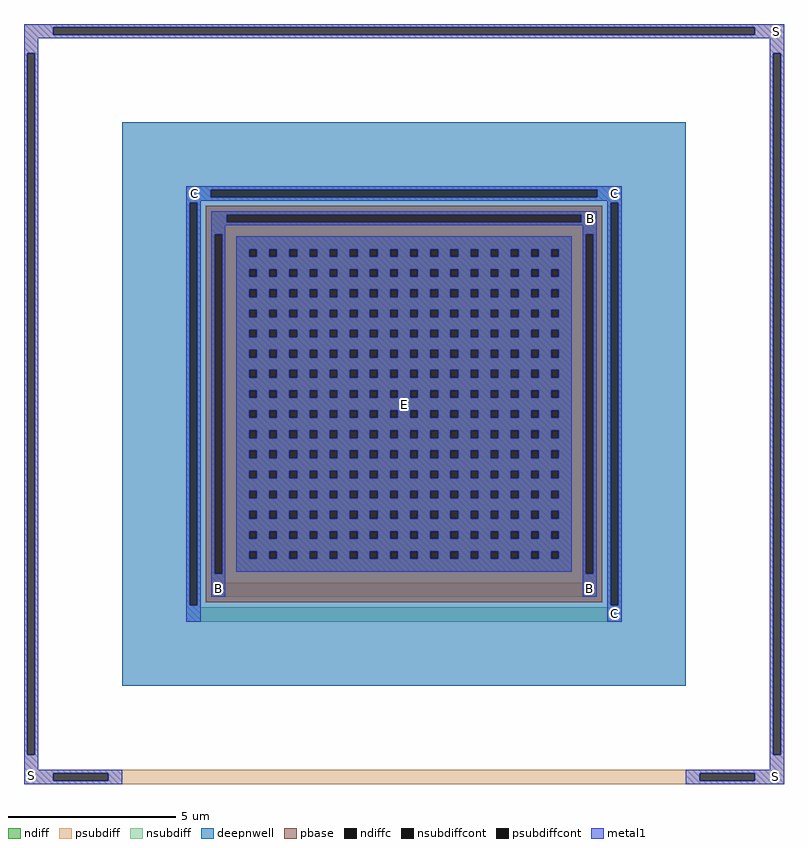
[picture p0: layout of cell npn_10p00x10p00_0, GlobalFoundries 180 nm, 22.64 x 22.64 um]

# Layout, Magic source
magic
tech gf180mcuD
magscale 1 10
<< deepnwell >>
rect -680 -680 2680 2680
<< pbase >>
rect -180 -180 2180 2180
<< ndiff >>
rect 0 1923 2000 2000
rect 0 1877 77 1923
rect 123 1877 197 1923
rect 243 1877 317 1923
rect 363 1877 437 1923
rect 483 1877 557 1923
rect 603 1877 677 1923
rect 723 1877 797 1923
rect 843 1877 917 1923
rect 963 1877 1037 1923
rect 1083 1877 1157 1923
rect 1203 1877 1277 1923
rect 1323 1877 1397 1923
rect 1443 1877 1517 1923
rect 1563 1877 1637 1923
rect 1683 1877 1757 1923
rect 1803 1877 1877 1923
rect 1923 1877 2000 1923
rect 0 1803 2000 1877
rect 0 1757 77 1803
rect 123 1757 197 1803
rect 243 1757 317 1803
rect 363 1757 437 1803
rect 483 1757 557 1803
rect 603 1757 677 1803
rect 723 1757 797 1803
rect 843 1757 917 1803
rect 963 1757 1037 1803
rect 1083 1757 1157 1803
rect 1203 1757 1277 1803
rect 1323 1757 1397 1803
rect 1443 1757 1517 1803
rect 1563 1757 1637 1803
rect 1683 1757 1757 1803
rect 1803 1757 1877 1803
rect 1923 1757 2000 1803
rect 0 1683 2000 1757
rect 0 1637 77 1683
rect 123 1637 197 1683
rect 243 1637 317 1683
rect 363 1637 437 1683
rect 483 1637 557 1683
rect 603 1637 677 1683
rect 723 1637 797 1683
rect 843 1637 917 1683
rect 963 1637 1037 1683
rect 1083 1637 1157 1683
rect 1203 1637 1277 1683
rect 1323 1637 1397 1683
rect 1443 1637 1517 1683
rect 1563 1637 1637 1683
rect 1683 1637 1757 1683
rect 1803 1637 1877 1683
rect 1923 1637 2000 1683
rect 0 1563 2000 1637
rect 0 1517 77 1563
rect 123 1517 197 1563
rect 243 1517 317 1563
rect 363 1517 437 1563
rect 483 1517 557 1563
rect 603 1517 677 1563
rect 723 1517 797 1563
rect 843 1517 917 1563
rect 963 1517 1037 1563
rect 1083 1517 1157 1563
rect 1203 1517 1277 1563
rect 1323 1517 1397 1563
rect 1443 1517 1517 1563
rect 1563 1517 1637 1563
rect 1683 1517 1757 1563
rect 1803 1517 1877 1563
rect 1923 1517 2000 1563
rect 0 1443 2000 1517
rect 0 1397 77 1443
rect 123 1397 197 1443
rect 243 1397 317 1443
rect 363 1397 437 1443
rect 483 1397 557 1443
rect 603 1397 677 1443
rect 723 1397 797 1443
rect 843 1397 917 1443
rect 963 1397 1037 1443
rect 1083 1397 1157 1443
rect 1203 1397 1277 1443
rect 1323 1397 1397 1443
rect 1443 1397 1517 1443
rect 1563 1397 1637 1443
rect 1683 1397 1757 1443
rect 1803 1397 1877 1443
rect 1923 1397 2000 1443
rect 0 1323 2000 1397
rect 0 1277 77 1323
rect 123 1277 197 1323
rect 243 1277 317 1323
rect 363 1277 437 1323
rect 483 1277 557 1323
rect 603 1277 677 1323
rect 723 1277 797 1323
rect 843 1277 917 1323
rect 963 1277 1037 1323
rect 1083 1277 1157 1323
rect 1203 1277 1277 1323
rect 1323 1277 1397 1323
rect 1443 1277 1517 1323
rect 1563 1277 1637 1323
rect 1683 1277 1757 1323
rect 1803 1277 1877 1323
rect 1923 1277 2000 1323
rect 0 1203 2000 1277
rect 0 1157 77 1203
rect 123 1157 197 1203
rect 243 1157 317 1203
rect 363 1157 437 1203
rect 483 1157 557 1203
rect 603 1157 677 1203
rect 723 1157 797 1203
rect 843 1157 917 1203
rect 963 1157 1037 1203
rect 1083 1157 1157 1203
rect 1203 1157 1277 1203
rect 1323 1157 1397 1203
rect 1443 1157 1517 1203
rect 1563 1157 1637 1203
rect 1683 1157 1757 1203
rect 1803 1157 1877 1203
rect 1923 1157 2000 1203
rect 0 1083 2000 1157
rect 0 1037 77 1083
rect 123 1037 197 1083
rect 243 1037 317 1083
rect 363 1037 437 1083
rect 483 1037 557 1083
rect 603 1037 677 1083
rect 723 1037 797 1083
rect 843 1037 917 1083
rect 963 1037 1037 1083
rect 1083 1037 1157 1083
rect 1203 1037 1277 1083
rect 1323 1037 1397 1083
rect 1443 1037 1517 1083
rect 1563 1037 1637 1083
rect 1683 1037 1757 1083
rect 1803 1037 1877 1083
rect 1923 1037 2000 1083
rect 0 963 2000 1037
rect 0 917 77 963
rect 123 917 197 963
rect 243 917 317 963
rect 363 917 437 963
rect 483 917 557 963
rect 603 917 677 963
rect 723 917 797 963
rect 843 917 917 963
rect 963 917 1037 963
rect 1083 917 1157 963
rect 1203 917 1277 963
rect 1323 917 1397 963
rect 1443 917 1517 963
rect 1563 917 1637 963
rect 1683 917 1757 963
rect 1803 917 1877 963
rect 1923 917 2000 963
rect 0 843 2000 917
rect 0 797 77 843
rect 123 797 197 843
rect 243 797 317 843
rect 363 797 437 843
rect 483 797 557 843
rect 603 797 677 843
rect 723 797 797 843
rect 843 797 917 843
rect 963 797 1037 843
rect 1083 797 1157 843
rect 1203 797 1277 843
rect 1323 797 1397 843
rect 1443 797 1517 843
rect 1563 797 1637 843
rect 1683 797 1757 843
rect 1803 797 1877 843
rect 1923 797 2000 843
rect 0 723 2000 797
rect 0 677 77 723
rect 123 677 197 723
rect 243 677 317 723
rect 363 677 437 723
rect 483 677 557 723
rect 603 677 677 723
rect 723 677 797 723
rect 843 677 917 723
rect 963 677 1037 723
rect 1083 677 1157 723
rect 1203 677 1277 723
rect 1323 677 1397 723
rect 1443 677 1517 723
rect 1563 677 1637 723
rect 1683 677 1757 723
rect 1803 677 1877 723
rect 1923 677 2000 723
rect 0 603 2000 677
rect 0 557 77 603
rect 123 557 197 603
rect 243 557 317 603
rect 363 557 437 603
rect 483 557 557 603
rect 603 557 677 603
rect 723 557 797 603
rect 843 557 917 603
rect 963 557 1037 603
rect 1083 557 1157 603
rect 1203 557 1277 603
rect 1323 557 1397 603
rect 1443 557 1517 603
rect 1563 557 1637 603
rect 1683 557 1757 603
rect 1803 557 1877 603
rect 1923 557 2000 603
rect 0 483 2000 557
rect 0 437 77 483
rect 123 437 197 483
rect 243 437 317 483
rect 363 437 437 483
rect 483 437 557 483
rect 603 437 677 483
rect 723 437 797 483
rect 843 437 917 483
rect 963 437 1037 483
rect 1083 437 1157 483
rect 1203 437 1277 483
rect 1323 437 1397 483
rect 1443 437 1517 483
rect 1563 437 1637 483
rect 1683 437 1757 483
rect 1803 437 1877 483
rect 1923 437 2000 483
rect 0 363 2000 437
rect 0 317 77 363
rect 123 317 197 363
rect 243 317 317 363
rect 363 317 437 363
rect 483 317 557 363
rect 603 317 677 363
rect 723 317 797 363
rect 843 317 917 363
rect 963 317 1037 363
rect 1083 317 1157 363
rect 1203 317 1277 363
rect 1323 317 1397 363
rect 1443 317 1517 363
rect 1563 317 1637 363
rect 1683 317 1757 363
rect 1803 317 1877 363
rect 1923 317 2000 363
rect 0 243 2000 317
rect 0 197 77 243
rect 123 197 197 243
rect 243 197 317 243
rect 363 197 437 243
rect 483 197 557 243
rect 603 197 677 243
rect 723 197 797 243
rect 843 197 917 243
rect 963 197 1037 243
rect 1083 197 1157 243
rect 1203 197 1277 243
rect 1323 197 1397 243
rect 1443 197 1517 243
rect 1563 197 1637 243
rect 1683 197 1757 243
rect 1803 197 1877 243
rect 1923 197 2000 243
rect 0 123 2000 197
rect 0 77 77 123
rect 123 77 197 123
rect 243 77 317 123
rect 363 77 437 123
rect 483 77 557 123
rect 603 77 677 123
rect 723 77 797 123
rect 843 77 917 123
rect 963 77 1037 123
rect 1083 77 1157 123
rect 1203 77 1277 123
rect 1323 77 1397 123
rect 1443 77 1517 123
rect 1563 77 1637 123
rect 1683 77 1757 123
rect 1803 77 1877 123
rect 1923 77 2000 123
rect 0 0 2000 77
<< ndiffc >>
rect 77 1877 123 1923
rect 197 1877 243 1923
rect 317 1877 363 1923
rect 437 1877 483 1923
rect 557 1877 603 1923
rect 677 1877 723 1923
rect 797 1877 843 1923
rect 917 1877 963 1923
rect 1037 1877 1083 1923
rect 1157 1877 1203 1923
rect 1277 1877 1323 1923
rect 1397 1877 1443 1923
rect 1517 1877 1563 1923
rect 1637 1877 1683 1923
rect 1757 1877 1803 1923
rect 1877 1877 1923 1923
rect 77 1757 123 1803
rect 197 1757 243 1803
rect 317 1757 363 1803
rect 437 1757 483 1803
rect 557 1757 603 1803
rect 677 1757 723 1803
rect 797 1757 843 1803
rect 917 1757 963 1803
rect 1037 1757 1083 1803
rect 1157 1757 1203 1803
rect 1277 1757 1323 1803
rect 1397 1757 1443 1803
rect 1517 1757 1563 1803
rect 1637 1757 1683 1803
rect 1757 1757 1803 1803
rect 1877 1757 1923 1803
rect 77 1637 123 1683
rect 197 1637 243 1683
rect 317 1637 363 1683
rect 437 1637 483 1683
rect 557 1637 603 1683
rect 677 1637 723 1683
rect 797 1637 843 1683
rect 917 1637 963 1683
rect 1037 1637 1083 1683
rect 1157 1637 1203 1683
rect 1277 1637 1323 1683
rect 1397 1637 1443 1683
rect 1517 1637 1563 1683
rect 1637 1637 1683 1683
rect 1757 1637 1803 1683
rect 1877 1637 1923 1683
rect 77 1517 123 1563
rect 197 1517 243 1563
rect 317 1517 363 1563
rect 437 1517 483 1563
rect 557 1517 603 1563
rect 677 1517 723 1563
rect 797 1517 843 1563
rect 917 1517 963 1563
rect 1037 1517 1083 1563
rect 1157 1517 1203 1563
rect 1277 1517 1323 1563
rect 1397 1517 1443 1563
rect 1517 1517 1563 1563
rect 1637 1517 1683 1563
rect 1757 1517 1803 1563
rect 1877 1517 1923 1563
rect 77 1397 123 1443
rect 197 1397 243 1443
rect 317 1397 363 1443
rect 437 1397 483 1443
rect 557 1397 603 1443
rect 677 1397 723 1443
rect 797 1397 843 1443
rect 917 1397 963 1443
rect 1037 1397 1083 1443
rect 1157 1397 1203 1443
rect 1277 1397 1323 1443
rect 1397 1397 1443 1443
rect 1517 1397 1563 1443
rect 1637 1397 1683 1443
rect 1757 1397 1803 1443
rect 1877 1397 1923 1443
rect 77 1277 123 1323
rect 197 1277 243 1323
rect 317 1277 363 1323
rect 437 1277 483 1323
rect 557 1277 603 1323
rect 677 1277 723 1323
rect 797 1277 843 1323
rect 917 1277 963 1323
rect 1037 1277 1083 1323
rect 1157 1277 1203 1323
rect 1277 1277 1323 1323
rect 1397 1277 1443 1323
rect 1517 1277 1563 1323
rect 1637 1277 1683 1323
rect 1757 1277 1803 1323
rect 1877 1277 1923 1323
rect 77 1157 123 1203
rect 197 1157 243 1203
rect 317 1157 363 1203
rect 437 1157 483 1203
rect 557 1157 603 1203
rect 677 1157 723 1203
rect 797 1157 843 1203
rect 917 1157 963 1203
rect 1037 1157 1083 1203
rect 1157 1157 1203 1203
rect 1277 1157 1323 1203
rect 1397 1157 1443 1203
rect 1517 1157 1563 1203
rect 1637 1157 1683 1203
rect 1757 1157 1803 1203
rect 1877 1157 1923 1203
rect 77 1037 123 1083
rect 197 1037 243 1083
rect 317 1037 363 1083
rect 437 1037 483 1083
rect 557 1037 603 1083
rect 677 1037 723 1083
rect 797 1037 843 1083
rect 917 1037 963 1083
rect 1037 1037 1083 1083
rect 1157 1037 1203 1083
rect 1277 1037 1323 1083
rect 1397 1037 1443 1083
rect 1517 1037 1563 1083
rect 1637 1037 1683 1083
rect 1757 1037 1803 1083
rect 1877 1037 1923 1083
rect 77 917 123 963
rect 197 917 243 963
rect 317 917 363 963
rect 437 917 483 963
rect 557 917 603 963
rect 677 917 723 963
rect 797 917 843 963
rect 917 917 963 963
rect 1037 917 1083 963
rect 1157 917 1203 963
rect 1277 917 1323 963
rect 1397 917 1443 963
rect 1517 917 1563 963
rect 1637 917 1683 963
rect 1757 917 1803 963
rect 1877 917 1923 963
rect 77 797 123 843
rect 197 797 243 843
rect 317 797 363 843
rect 437 797 483 843
rect 557 797 603 843
rect 677 797 723 843
rect 797 797 843 843
rect 917 797 963 843
rect 1037 797 1083 843
rect 1157 797 1203 843
rect 1277 797 1323 843
rect 1397 797 1443 843
rect 1517 797 1563 843
rect 1637 797 1683 843
rect 1757 797 1803 843
rect 1877 797 1923 843
rect 77 677 123 723
rect 197 677 243 723
rect 317 677 363 723
rect 437 677 483 723
rect 557 677 603 723
rect 677 677 723 723
rect 797 677 843 723
rect 917 677 963 723
rect 1037 677 1083 723
rect 1157 677 1203 723
rect 1277 677 1323 723
rect 1397 677 1443 723
rect 1517 677 1563 723
rect 1637 677 1683 723
rect 1757 677 1803 723
rect 1877 677 1923 723
rect 77 557 123 603
rect 197 557 243 603
rect 317 557 363 603
rect 437 557 483 603
rect 557 557 603 603
rect 677 557 723 603
rect 797 557 843 603
rect 917 557 963 603
rect 1037 557 1083 603
rect 1157 557 1203 603
rect 1277 557 1323 603
rect 1397 557 1443 603
rect 1517 557 1563 603
rect 1637 557 1683 603
rect 1757 557 1803 603
rect 1877 557 1923 603
rect 77 437 123 483
rect 197 437 243 483
rect 317 437 363 483
rect 437 437 483 483
rect 557 437 603 483
rect 677 437 723 483
rect 797 437 843 483
rect 917 437 963 483
rect 1037 437 1083 483
rect 1157 437 1203 483
rect 1277 437 1323 483
rect 1397 437 1443 483
rect 1517 437 1563 483
rect 1637 437 1683 483
rect 1757 437 1803 483
rect 1877 437 1923 483
rect 77 317 123 363
rect 197 317 243 363
rect 317 317 363 363
rect 437 317 483 363
rect 557 317 603 363
rect 677 317 723 363
rect 797 317 843 363
rect 917 317 963 363
rect 1037 317 1083 363
rect 1157 317 1203 363
rect 1277 317 1323 363
rect 1397 317 1443 363
rect 1517 317 1563 363
rect 1637 317 1683 363
rect 1757 317 1803 363
rect 1877 317 1923 363
rect 77 197 123 243
rect 197 197 243 243
rect 317 197 363 243
rect 437 197 483 243
rect 557 197 603 243
rect 677 197 723 243
rect 797 197 843 243
rect 917 197 963 243
rect 1037 197 1083 243
rect 1157 197 1203 243
rect 1277 197 1323 243
rect 1397 197 1443 243
rect 1517 197 1563 243
rect 1637 197 1683 243
rect 1757 197 1803 243
rect 1877 197 1923 243
rect 77 77 123 123
rect 197 77 243 123
rect 317 77 363 123
rect 437 77 483 123
rect 557 77 603 123
rect 677 77 723 123
rect 797 77 843 123
rect 917 77 963 123
rect 1037 77 1083 123
rect 1157 77 1203 123
rect 1277 77 1323 123
rect 1397 77 1443 123
rect 1517 77 1563 123
rect 1637 77 1683 123
rect 1757 77 1803 123
rect 1877 77 1923 123
<< psubdiff >>
rect -1264 3245 3264 3264
rect -1264 3199 -1091 3245
rect 3091 3199 3264 3245
rect -1264 3180 3264 3199
rect -1264 3091 -1180 3180
rect -1264 -1091 -1245 3091
rect -1199 -1091 -1180 3091
rect 3180 3091 3264 3180
rect -148 2129 2148 2148
rect -148 2083 -57 2129
rect 2057 2083 2148 2129
rect -148 2064 2148 2083
rect -148 2010 -64 2064
rect -148 -10 -129 2010
rect -83 -10 -64 2010
rect 2064 2010 2148 2064
rect -148 -64 -64 -10
rect 2064 -10 2083 2010
rect 2129 -10 2148 2010
rect 2064 -64 2148 -10
rect -148 -148 2148 -64
rect -1264 -1180 -1180 -1091
rect 3180 -1091 3199 3091
rect 3245 -1091 3264 3091
rect 3180 -1180 3264 -1091
rect -1264 -1199 3264 -1180
rect -1264 -1245 -1091 -1199
rect -763 -1245 2763 -1199
rect 3091 -1245 3264 -1199
rect -1264 -1264 3264 -1245
<< nsubdiff >>
rect -296 2277 2296 2296
rect -296 2231 -151 2277
rect 2151 2231 2296 2277
rect -296 2212 2296 2231
rect -296 2198 -212 2212
rect -296 -198 -277 2198
rect -231 -198 -212 2198
rect 2212 2198 2296 2212
rect -296 -212 -212 -198
rect 2212 -198 2231 2198
rect 2277 -198 2296 2198
rect 2212 -212 2296 -198
rect -296 -296 2296 -212
<< psubdiffcont >>
rect -1091 3199 3091 3245
rect -1245 -1091 -1199 3091
rect -57 2083 2057 2129
rect -129 -10 -83 2010
rect 2083 -10 2129 2010
rect 3199 -1091 3245 3091
rect -1091 -1245 -763 -1199
rect 2763 -1245 3091 -1199
<< nsubdiffcont >>
rect -151 2231 2151 2277
rect -277 -198 -231 2198
rect 2231 -198 2277 2198
<< metal1 >>
rect -1264 3245 3264 3264
rect -1264 3199 -1091 3245
rect 3091 3199 3264 3245
rect -1264 3180 3264 3199
rect -1264 3091 -1180 3180
rect -1264 -1091 -1245 3091
rect -1199 -1091 -1180 3091
rect 3180 3091 3264 3180
rect -296 2277 2296 2296
rect -296 2231 -151 2277
rect 2151 2231 2296 2277
rect -296 2212 2296 2231
rect -296 2198 -212 2212
rect -296 -198 -277 2198
rect -231 -198 -212 2198
rect 2212 2198 2296 2212
rect -148 2129 2148 2148
rect -148 2083 -57 2129
rect 2057 2083 2148 2129
rect -148 2064 2148 2083
rect -148 2010 -64 2064
rect -148 -10 -129 2010
rect -83 -10 -64 2010
rect 2064 2010 2148 2064
rect 0 1923 2000 2000
rect 0 1877 77 1923
rect 123 1877 197 1923
rect 243 1877 317 1923
rect 363 1877 437 1923
rect 483 1877 557 1923
rect 603 1877 677 1923
rect 723 1877 797 1923
rect 843 1877 917 1923
rect 963 1877 1037 1923
rect 1083 1877 1157 1923
rect 1203 1877 1277 1923
rect 1323 1877 1397 1923
rect 1443 1877 1517 1923
rect 1563 1877 1637 1923
rect 1683 1877 1757 1923
rect 1803 1877 1877 1923
rect 1923 1877 2000 1923
rect 0 1803 2000 1877
rect 0 1757 77 1803
rect 123 1757 197 1803
rect 243 1757 317 1803
rect 363 1757 437 1803
rect 483 1757 557 1803
rect 603 1757 677 1803
rect 723 1757 797 1803
rect 843 1757 917 1803
rect 963 1757 1037 1803
rect 1083 1757 1157 1803
rect 1203 1757 1277 1803
rect 1323 1757 1397 1803
rect 1443 1757 1517 1803
rect 1563 1757 1637 1803
rect 1683 1757 1757 1803
rect 1803 1757 1877 1803
rect 1923 1757 2000 1803
rect 0 1683 2000 1757
rect 0 1637 77 1683
rect 123 1637 197 1683
rect 243 1637 317 1683
rect 363 1637 437 1683
rect 483 1637 557 1683
rect 603 1637 677 1683
rect 723 1637 797 1683
rect 843 1637 917 1683
rect 963 1637 1037 1683
rect 1083 1637 1157 1683
rect 1203 1637 1277 1683
rect 1323 1637 1397 1683
rect 1443 1637 1517 1683
rect 1563 1637 1637 1683
rect 1683 1637 1757 1683
rect 1803 1637 1877 1683
rect 1923 1637 2000 1683
rect 0 1563 2000 1637
rect 0 1517 77 1563
rect 123 1517 197 1563
rect 243 1517 317 1563
rect 363 1517 437 1563
rect 483 1517 557 1563
rect 603 1517 677 1563
rect 723 1517 797 1563
rect 843 1517 917 1563
rect 963 1517 1037 1563
rect 1083 1517 1157 1563
rect 1203 1517 1277 1563
rect 1323 1517 1397 1563
rect 1443 1517 1517 1563
rect 1563 1517 1637 1563
rect 1683 1517 1757 1563
rect 1803 1517 1877 1563
rect 1923 1517 2000 1563
rect 0 1443 2000 1517
rect 0 1397 77 1443
rect 123 1397 197 1443
rect 243 1397 317 1443
rect 363 1397 437 1443
rect 483 1397 557 1443
rect 603 1397 677 1443
rect 723 1397 797 1443
rect 843 1397 917 1443
rect 963 1397 1037 1443
rect 1083 1397 1157 1443
rect 1203 1397 1277 1443
rect 1323 1397 1397 1443
rect 1443 1397 1517 1443
rect 1563 1397 1637 1443
rect 1683 1397 1757 1443
rect 1803 1397 1877 1443
rect 1923 1397 2000 1443
rect 0 1323 2000 1397
rect 0 1277 77 1323
rect 123 1277 197 1323
rect 243 1277 317 1323
rect 363 1277 437 1323
rect 483 1277 557 1323
rect 603 1277 677 1323
rect 723 1277 797 1323
rect 843 1277 917 1323
rect 963 1277 1037 1323
rect 1083 1277 1157 1323
rect 1203 1277 1277 1323
rect 1323 1277 1397 1323
rect 1443 1277 1517 1323
rect 1563 1277 1637 1323
rect 1683 1277 1757 1323
rect 1803 1277 1877 1323
rect 1923 1277 2000 1323
rect 0 1203 2000 1277
rect 0 1157 77 1203
rect 123 1157 197 1203
rect 243 1157 317 1203
rect 363 1157 437 1203
rect 483 1157 557 1203
rect 603 1157 677 1203
rect 723 1157 797 1203
rect 843 1157 917 1203
rect 963 1157 1037 1203
rect 1083 1157 1157 1203
rect 1203 1157 1277 1203
rect 1323 1157 1397 1203
rect 1443 1157 1517 1203
rect 1563 1157 1637 1203
rect 1683 1157 1757 1203
rect 1803 1157 1877 1203
rect 1923 1157 2000 1203
rect 0 1083 2000 1157
rect 0 1037 77 1083
rect 123 1037 197 1083
rect 243 1037 317 1083
rect 363 1037 437 1083
rect 483 1037 557 1083
rect 603 1037 677 1083
rect 723 1037 797 1083
rect 843 1037 917 1083
rect 963 1037 1037 1083
rect 1083 1037 1157 1083
rect 1203 1037 1277 1083
rect 1323 1037 1397 1083
rect 1443 1037 1517 1083
rect 1563 1037 1637 1083
rect 1683 1037 1757 1083
rect 1803 1037 1877 1083
rect 1923 1037 2000 1083
rect 0 963 2000 1037
rect 0 917 77 963
rect 123 917 197 963
rect 243 917 317 963
rect 363 917 437 963
rect 483 917 557 963
rect 603 917 677 963
rect 723 917 797 963
rect 843 917 917 963
rect 963 917 1037 963
rect 1083 917 1157 963
rect 1203 917 1277 963
rect 1323 917 1397 963
rect 1443 917 1517 963
rect 1563 917 1637 963
rect 1683 917 1757 963
rect 1803 917 1877 963
rect 1923 917 2000 963
rect 0 843 2000 917
rect 0 797 77 843
rect 123 797 197 843
rect 243 797 317 843
rect 363 797 437 843
rect 483 797 557 843
rect 603 797 677 843
rect 723 797 797 843
rect 843 797 917 843
rect 963 797 1037 843
rect 1083 797 1157 843
rect 1203 797 1277 843
rect 1323 797 1397 843
rect 1443 797 1517 843
rect 1563 797 1637 843
rect 1683 797 1757 843
rect 1803 797 1877 843
rect 1923 797 2000 843
rect 0 723 2000 797
rect 0 677 77 723
rect 123 677 197 723
rect 243 677 317 723
rect 363 677 437 723
rect 483 677 557 723
rect 603 677 677 723
rect 723 677 797 723
rect 843 677 917 723
rect 963 677 1037 723
rect 1083 677 1157 723
rect 1203 677 1277 723
rect 1323 677 1397 723
rect 1443 677 1517 723
rect 1563 677 1637 723
rect 1683 677 1757 723
rect 1803 677 1877 723
rect 1923 677 2000 723
rect 0 603 2000 677
rect 0 557 77 603
rect 123 557 197 603
rect 243 557 317 603
rect 363 557 437 603
rect 483 557 557 603
rect 603 557 677 603
rect 723 557 797 603
rect 843 557 917 603
rect 963 557 1037 603
rect 1083 557 1157 603
rect 1203 557 1277 603
rect 1323 557 1397 603
rect 1443 557 1517 603
rect 1563 557 1637 603
rect 1683 557 1757 603
rect 1803 557 1877 603
rect 1923 557 2000 603
rect 0 483 2000 557
rect 0 437 77 483
rect 123 437 197 483
rect 243 437 317 483
rect 363 437 437 483
rect 483 437 557 483
rect 603 437 677 483
rect 723 437 797 483
rect 843 437 917 483
rect 963 437 1037 483
rect 1083 437 1157 483
rect 1203 437 1277 483
rect 1323 437 1397 483
rect 1443 437 1517 483
rect 1563 437 1637 483
rect 1683 437 1757 483
rect 1803 437 1877 483
rect 1923 437 2000 483
rect 0 363 2000 437
rect 0 317 77 363
rect 123 317 197 363
rect 243 317 317 363
rect 363 317 437 363
rect 483 317 557 363
rect 603 317 677 363
rect 723 317 797 363
rect 843 317 917 363
rect 963 317 1037 363
rect 1083 317 1157 363
rect 1203 317 1277 363
rect 1323 317 1397 363
rect 1443 317 1517 363
rect 1563 317 1637 363
rect 1683 317 1757 363
rect 1803 317 1877 363
rect 1923 317 2000 363
rect 0 243 2000 317
rect 0 197 77 243
rect 123 197 197 243
rect 243 197 317 243
rect 363 197 437 243
rect 483 197 557 243
rect 603 197 677 243
rect 723 197 797 243
rect 843 197 917 243
rect 963 197 1037 243
rect 1083 197 1157 243
rect 1203 197 1277 243
rect 1323 197 1397 243
rect 1443 197 1517 243
rect 1563 197 1637 243
rect 1683 197 1757 243
rect 1803 197 1877 243
rect 1923 197 2000 243
rect 0 123 2000 197
rect 0 77 77 123
rect 123 77 197 123
rect 243 77 317 123
rect 363 77 437 123
rect 483 77 557 123
rect 603 77 677 123
rect 723 77 797 123
rect 843 77 917 123
rect 963 77 1037 123
rect 1083 77 1157 123
rect 1203 77 1277 123
rect 1323 77 1397 123
rect 1443 77 1517 123
rect 1563 77 1637 123
rect 1683 77 1757 123
rect 1803 77 1877 123
rect 1923 77 2000 123
rect 0 0 2000 77
rect -148 -148 -64 -10
rect 2064 -10 2083 2010
rect 2129 -10 2148 2010
rect 2064 -148 2148 -10
rect -296 -296 -212 -198
rect 2212 -198 2231 2198
rect 2277 -198 2296 2198
rect 2212 -296 2296 -198
rect -1264 -1180 -1180 -1091
rect 3180 -1091 3199 3091
rect 3245 -1091 3264 3091
rect 3180 -1180 3264 -1091
rect -1264 -1199 -680 -1180
rect -1264 -1245 -1091 -1199
rect -763 -1245 -680 -1199
rect -1264 -1264 -680 -1245
rect 2680 -1199 3264 -1180
rect 2680 -1245 2763 -1199
rect 3091 -1245 3264 -1199
rect 2680 -1264 3264 -1245
<< labels >>
flabel metal1 1001 999 1001 999 0 FreeSans 400 0 0 0 E
flabel metal1 -103 -97 -103 -97 0 FreeSans 400 0 0 0 B
flabel metal1 2105 -99 2105 -99 0 FreeSans 400 0 0 0 B
flabel metal1 2110 2108 2110 2108 0 FreeSans 400 0 0 0 B
flabel metal1 -251 2252 -251 2252 0 FreeSans 400 0 0 0 C
flabel metal1 2254 -247 2254 -247 0 FreeSans 400 0 0 0 C
flabel metal1 2257 2257 2257 2257 0 FreeSans 400 0 0 0 C
flabel metal1 3221 3221 3221 3221 0 FreeSans 400 0 0 0 S
flabel metal1 3214 -1219 3214 -1219 0 FreeSans 400 0 0 0 S
flabel metal1 3214 -1219 3214 -1219 0 FreeSans 400 0 0 0 S
flabel metal1 -1219 -1211 -1219 -1211 0 FreeSans 400 0 0 0 S
flabel metal1 -1219 -1211 -1219 -1211 0 FreeSans 400 0 0 0 S
<< properties >>
string GDS_END 37868
string GDS_FILE $PDKPATH/libs.ref/gf180mcu_fd_pr/gds/npn_10p00x10p00.gds
string GDS_START 112
string gencell npn_10p00x10p00
string library gf180mcu
string parameter m=1
<< end >>
